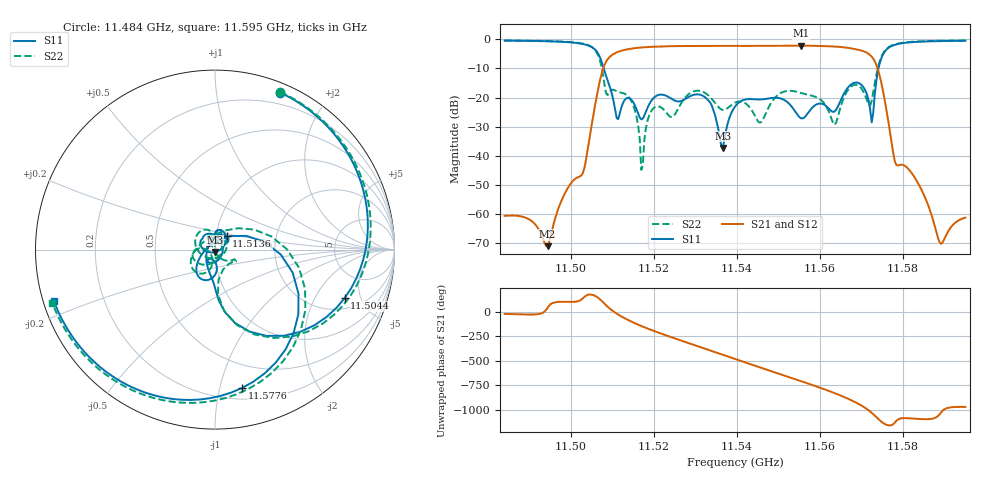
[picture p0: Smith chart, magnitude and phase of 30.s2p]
! Created with skrf 1.8.0 (http://scikit-rf.org).
# Hz S RI R 50.0
!freq ReS11 ImS11 ReS21 ImS21 ReS12 ImS12 ReS22 ImS22
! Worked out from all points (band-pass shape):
!   301 points, 11.484 GHz to 11.595 GHz, reference 50 ohm
!   highest |S21| = -2.20 dB at 11.5554 GHz (marker M1); lowest = -71.0 dB at 11.4944 GHz (marker M2)
!   |S21| within 3 dB of the highest: 11.5101 GHz to 11.5718 GHz (61.75 MHz wide, 0.535 % of centre)
!   lowest |S11| = -37.3 dB at 11.5365 GHz (marker M3), VSWR 1.03, Z = 50 - j1.36 ohm
!   |S11| at or under -10 dB: 11.5079 GHz to 11.5741 GHz (66.21 MHz wide, 0.574 % of centre)
!   |S22| runs from -44.8 to -0.4 dB; largest |S21 - S12| = 0.019
!   S11 on the Smith chart (normalised r, x): 11.484 GHz: 0.09, +1.50; 11.5044 GHz: 2.71, -3.61; 11.5136 GHz: 1.13, +0.17; 11.5776 GHz: 0.29, -1.17; 11.595 GHz: 0.03, -0.16
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1.1484e10  0.3648 0.8734  0.000847 -0.000384  0.00085 -0.000373  0.3638 0.8782
1.149436e10  0.6761 0.6289  0.000216 0.00018  0.000216 0.000182  0.6889 0.6244
1.15025e10  0.8377 -0.00677  -0.00247 0.00389  -0.0025 0.00397  0.8495 -0.0363
1.150435e10  0.7228 -0.2695  -0.0179 0.00206  -0.0183 0.00236  0.7164 -0.3079
1.150805e10  0.0226 -0.2866  0.0598 0.3546  0.0675 0.3547  0.0195 -0.1678
1.151101e10  -0.044 -0.00211  0.5528 -0.2203  0.5519 -0.2325  0.1135 -0.0604
1.15136e10  0.0652 0.0738  0.0755 -0.6675  0.0615 -0.6718  0.0884 -0.0608
1.151693e10  0.0234 0.035  -0.6093 -0.3882  -0.6161 -0.3745  4.01e-05 -0.00573
1.1521e10  0.0171 0.1089  -0.6182 0.4212  -0.611 0.4319  0.0595 0.0379
1.152988e10  0.0247 0.1098  0.7375 0.2036  0.733 0.1881  -0.0999 0.0826
1.153654e10  0.000414 -0.0136  0.1217 -0.7603  0.1184 -0.7572  -0.0233 0.0566
1.15395e10  -0.0696 0.00618  -0.4264 -0.638  -0.4274 -0.6323  -0.0411 0.0703
1.154875e10  -0.0611 0.0776  -0.1803 0.7504  -0.1721 0.7506  -0.04 -0.0826
1.155541e10  0.0438 0.0035  0.7654 0.1276  0.7571 0.1232  -0.1192 -0.0116
1.1558e10  0.00865 -0.065  0.682 -0.363  0.6762 -0.3611  -0.1074 -0.00238
1.156355e10  -0.0127 -0.0566  -0.298 -0.6867  -0.2982 -0.6817  -0.0264 -0.0217
1.156651e10  -0.000621 -0.142  -0.6927 -0.1758  -0.6904 -0.1739  -0.04 -0.1215
1.157243e10  -0.0309 0.0211  0.3454 0.3654  0.3428 0.3643  0.00911 0.0877
1.15765e10  0.3378 -0.6302  0.00526 -0.0363  0.00533 -0.0369  0.3796 -0.6214
1.157761e10  0.1497 -0.7715  0.00377 -0.0105  0.00373 -0.0106  0.1859 -0.7764
1.158908e10  -0.7841 -0.4997  0.000212 0.000225  0.000216 0.000216  -0.7918 -0.5104
1.1595e10  -0.8966 -0.2882  -0.000248 0.000833  -0.000225 0.000828  -0.9056 -0.2971
